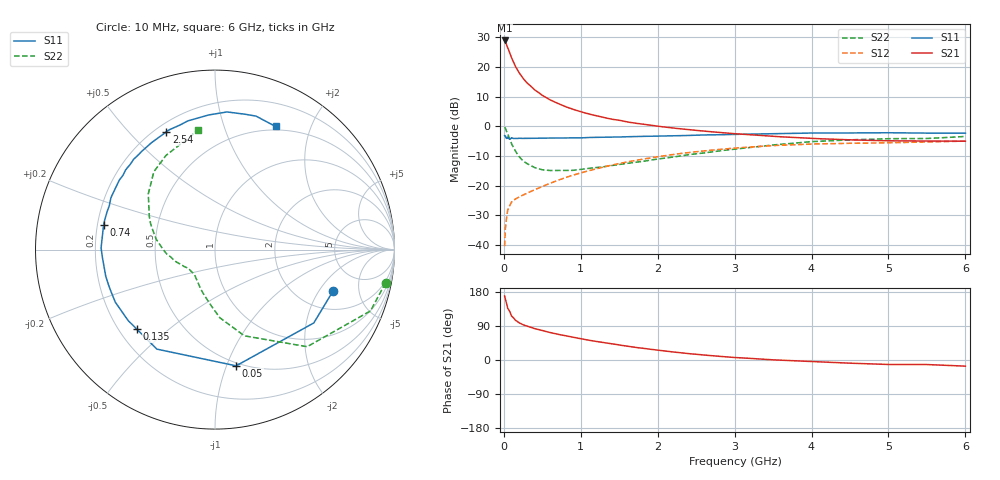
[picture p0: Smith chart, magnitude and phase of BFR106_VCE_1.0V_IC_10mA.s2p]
! Infineon Technologies  Discrete & RF Semiconductors
! BFR106
! VCE =  1.0 V,  IC =  10 mA
! Common Emitter S-Parameters:  Nov 2015
# GHz  S  MA  R  50
!  f  S11  S21  S12  S22
! GHz  MAG  ANG  MAG  ANG  MAG  ANG  MAG  ANG
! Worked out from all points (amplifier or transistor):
!   210 points, 10 MHz to 6 GHz, reference 50 ohm
!   highest |S21| = 29.0 dB at 10 MHz (marker M1)
!   |S21| within 3 dB of that: start of sweep to 59.48 MHz
!   unconditionally stable (mu >= 1): 464.5 MHz to 2.97 GHz; 3.068 GHz to 3.418 GHz; 3.581 GHz to end of sweep
!   at 185 MHz: K = 0.58, MSG = 21.4 dB, |S12| = -24.0 dB
!   at 1.52 GHz: K = 1.11, MAG = 5.2 dB, |S12| = -12.5 dB
!   at 6 GHz: K = 1.03, MAG = -1.1 dB, |S12| = -5.0 dB
!   S11 on the Smith chart (normalised r, x): 10 MHz: 3.05, -2.71; 50 MHz: 0.47, -1.08; 135 MHz: 0.27, -0.39; 740 MHz: 0.23, +0.10; 2.54 GHz: 0.24, +0.64; 6 GHz: 0.46, +1.51
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0.01  0.6977 -19.1  28.05 168.9  0.0095 82.8  0.9681 -11.0
0.02  0.6855 -36.6  26.85 159.9  0.0189 74.0  0.9315 -21.5
0.05  0.6582 -79.7  21.35 136.7  0.0385 55.9  0.7459 -46.5
0.1  0.6422 -120.3  14.27 116.1  0.0526 43.8  0.5074 -71.2
0.135  0.6215 -134.6  11.39 109.0  0.0573 41.0  0.4152 -80.6
0.15  0.6248 -140.8  10.22 104.8  0.0593 40.0  0.3803 -86.0
0.2  0.628 -152.2  7.954 98.0  0.0644 40.6  0.3063 -95.0
0.24  0.6248 -158.5  6.724 94.0  0.0683 41.6  0.269 -101.5
0.26  0.6249 -161.3  6.219 92.2  0.0703 42.3  0.2552 -104.5
0.3  0.6266 -166.2  5.411 89.2  0.0745 44.0  0.2358 -109.3
0.4  0.6281 -174.9  4.126 82.8  0.0847 47.4  0.2015 -119.5
0.5  0.6347 179.1  3.327 77.5  0.0964 50.4  0.1846 -126.7
0.6  0.632 173.8  2.796 72.5  0.1091 52.3  0.1795 -131.6
0.74  0.6352 167.5  2.317 66.4  0.1278 54.1  0.1796 -138.4
1.02  0.6393 156.7  1.73 55.5  0.1664 55.3  0.1887 -148.3
1.4  0.6587 144.0  1.32 42.8  0.2209 53.2  0.2174 -159.6
2.02  0.6836 126.1  0.996 25.6  0.3092 46.1  0.2826 -178.4
2.54  0.7097 112.4  0.844 14.3  0.3773 38.2  0.3478 166.0
3.1  0.7348 100.1  0.735 5.5  0.4369 28.9  0.4242 150.0
4.1  0.7695 83.7  0.617 -5.1  0.5045 13.0  0.5581 125.9
5.1  0.7755 71.9  0.568 -11.8  0.5301 0.5  0.6187 107.8
6  0.7649 63.8  0.56 -16.2  0.5616 -8.6  0.6737 98.0
